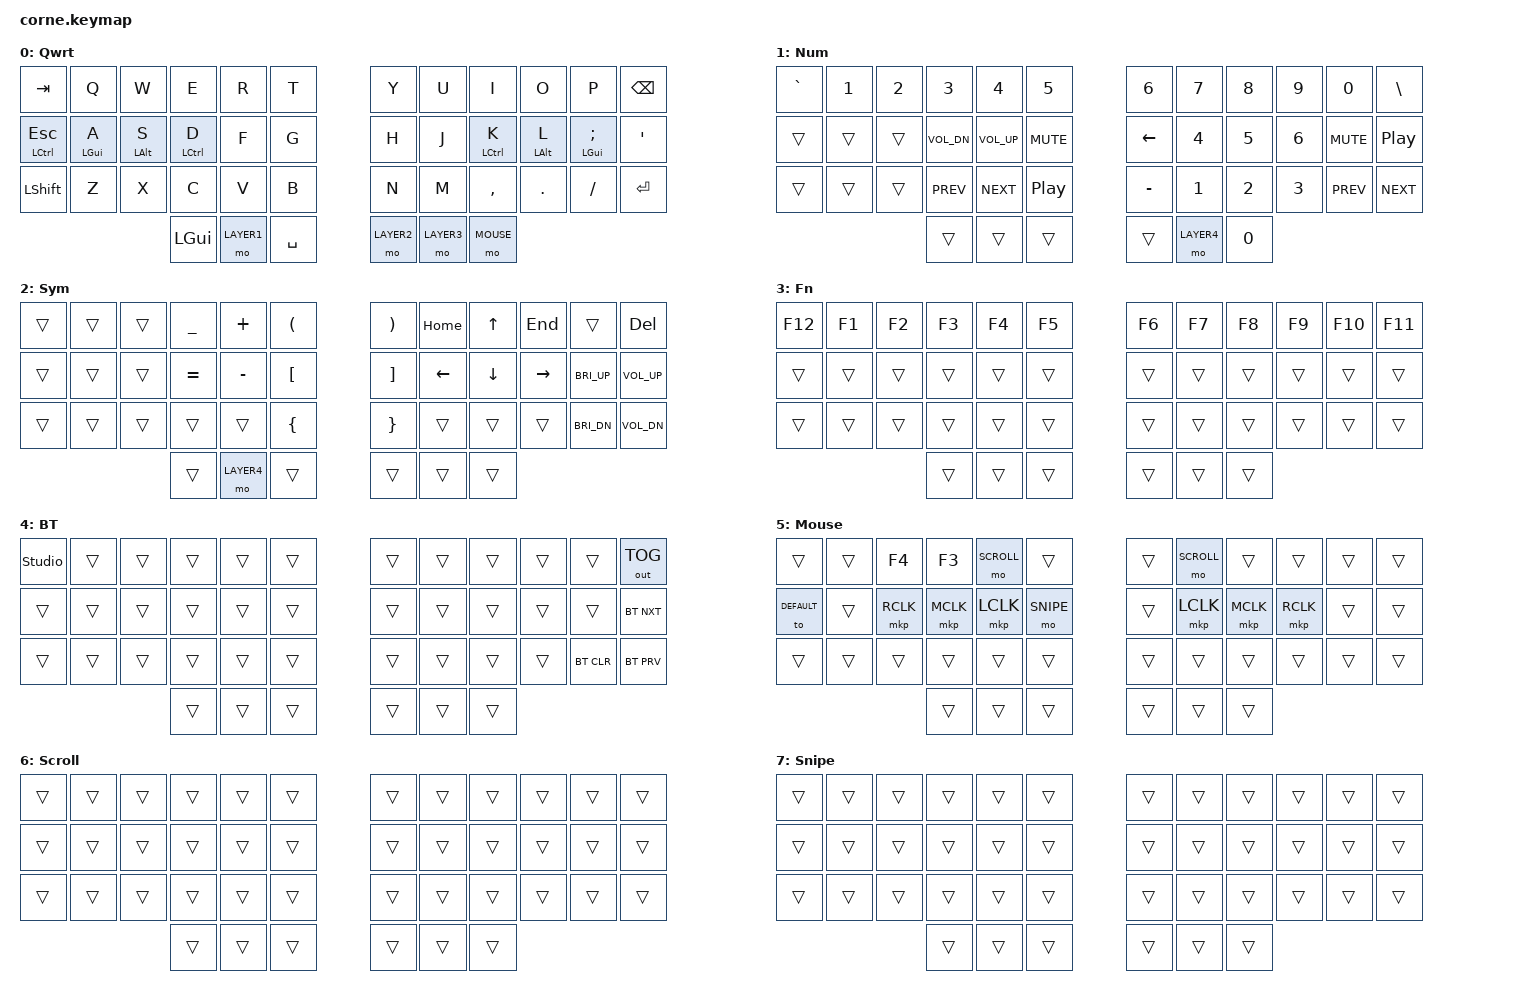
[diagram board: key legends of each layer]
#include <behaviors.dtsi>
#include <dt-bindings/zmk/bt.h>
#include <dt-bindings/zmk/keys.h>
#include <dt-bindings/zmk/outputs.h>
#include <dt-bindings/zmk/pointing.h>
#include <input/processors.dtsi>
#include <zephyr/dt-bindings/input/input-event-codes.h>


#define HM_TAPPING_TERM 300
#define HM_TAPPING_TERM_FAST 200
#define HM_PRIOR_IDLE 125

#define KEYS_L 0 1 2 3 4 5 12 13 14 15 16 17 24 25 26 27 28 29
#define KEYS_R 6 7 8 9 10 11 18 19 20 21 22 23 30 31 32 33 34 35
#define KEYS_T 36 37 38 39 40 41

#define DEFAULT 0
#define LAYER1  1
#define LAYER2  2
#define LAYER3  3
#define LAYER4  4
#define MOUSE   5
#define SCROLL  6
#define SNIPE   7

#define COMBO_TIMEOUT 20
#define COMBO_PRIOR_IDLE 75

&trackball_listener {
    input-processors = <&zip_ble_report_rate_limit>, <&zip_temp_layer MOUSE 1000>;

    scroller {
        layers = <SCROLL>;
        input-processors = <&zip_xy_scaler 1 16>, <&zip_xy_scaler 1 8>, <&zip_xy_to_scroll_mapper>;
    };

    sniper {
        layers = <SNIPE>;
        input-processors = <&zip_xy_scaler 1 4>;
    };
};

/ {
    behaviors {
        hm_l: homerow_mods_left {
            compatible = "zmk,behavior-hold-tap";
            #binding-cells = <2>;
            flavor = "balanced";
            require-prior-idle-ms = <HM_PRIOR_IDLE>;
            tapping-term-ms = <HM_TAPPING_TERM>;
            quick-tap-ms = <175>;
            bindings = <&kp>,  <&kp>;
            hold-trigger-key-positions = <KEYS_R KEYS_T>;
            hold-trigger-on-release;
        };

        hm_r: homerow_mods_right {
            compatible = "zmk,behavior-hold-tap";
            #binding-cells = <2>;
            flavor = "balanced";
            require-prior-idle-ms = <HM_PRIOR_IDLE>;
            tapping-term-ms = <HM_TAPPING_TERM>;
            quick-tap-ms = <175>;
            bindings = <&kp>, <&kp>;
            hold-trigger-key-positions = <KEYS_L KEYS_T>;
            hold-trigger-on-release;
        };
    };

    combos {
        compatible = "zmk,combos";
        combo_grave {
            timeout-ms = <COMBO_TIMEOUT>;
            require-prior-idle-ms = <COMBO_PRIOR_IDLE>;
            key-positions = <0 1>;
            bindings = <&kp GRAVE>;
        };

        combo_exclamation {
            timeout-ms = <COMBO_TIMEOUT>;
            require-prior-idle-ms = <COMBO_PRIOR_IDLE>;
            key-positions = <1 2>;
            bindings = <&kp EXCLAMATION>;
        };

        combo_atsign {
            timeout-ms = <COMBO_TIMEOUT>;
            require-prior-idle-ms = <COMBO_PRIOR_IDLE>;
            key-positions = <2 3>;
            bindings = <&kp AT_SIGN>;
        };

        combo_hash {
            timeout-ms = <COMBO_TIMEOUT>;
            require-prior-idle-ms = <COMBO_PRIOR_IDLE>;
            key-positions = <3 4>;
            bindings = <&kp HASH>;
        };

        combo_dollar {
            timeout-ms = <COMBO_TIMEOUT>;
            require-prior-idle-ms = <COMBO_PRIOR_IDLE>;
            key-positions = <4 5>;
            bindings = <&kp DOLLAR>;
        };

        combo_percent {
            timeout-ms = <COMBO_TIMEOUT>;
            require-prior-idle-ms = <COMBO_PRIOR_IDLE>;
            key-positions = <5 6>;
            bindings = <&kp PERCENT>;
        };

        combo_caret {
            timeout-ms = <COMBO_TIMEOUT>;
            require-prior-idle-ms = <COMBO_PRIOR_IDLE>;
            key-positions = <6 7>;
            bindings = <&kp CARET>;
        };

        combo_ampersand {
            timeout-ms = <COMBO_TIMEOUT>;
            require-prior-idle-ms = <COMBO_PRIOR_IDLE>;
            key-positions = <7 8>;
            bindings = <&kp AMPERSAND>;
        };

        combo_asterisk {
            timeout-ms = <COMBO_TIMEOUT>;
            require-prior-idle-ms = <COMBO_PRIOR_IDLE>;
            key-positions = <8 9>;
            bindings = <&kp ASTERISK>;
        };

        combo_lpar {
            timeout-ms = <COMBO_TIMEOUT>;
            require-prior-idle-ms = <COMBO_PRIOR_IDLE>;
            key-positions = <9 10>;
            bindings = <&kp LEFT_PARENTHESIS>;
        };

        combo_rpar {
            timeout-ms = <COMBO_TIMEOUT>;
            require-prior-idle-ms = <COMBO_PRIOR_IDLE>;
            key-positions = <10 11>;
            bindings = <&kp RIGHT_PARENTHESIS>;
        };

        combo_gui_option {
            timeout-ms = <COMBO_TIMEOUT>;
            require-prior-idle-ms = <COMBO_PRIOR_IDLE>;
            key-positions = <36 37>;
            bindings = <&kp LG(LALT)>;
        };

        combo_ctrl_z {
            timeout-ms = <COMBO_TIMEOUT>;
            require-prior-idle-ms = <COMBO_PRIOR_IDLE>;
            key-positions = <25 26>;
            bindings = <&kp LG(Z)>;
        };

        combo_ctrl_x {
            timeout-ms = <COMBO_TIMEOUT>;
            require-prior-idle-ms = <COMBO_PRIOR_IDLE>;
            key-positions = <26 27>;
            bindings = <&kp LG(X)>;
        };

        combo_ctrl_c {
            timeout-ms = <COMBO_TIMEOUT>;
            require-prior-idle-ms = <COMBO_PRIOR_IDLE>;
            key-positions = <27 28>;
            bindings = <&kp LG(C)>;
        };

        combo_ctrl_v {
            timeout-ms = <COMBO_TIMEOUT>;
            require-prior-idle-ms = <COMBO_PRIOR_IDLE>;
            key-positions = <28 29>;
            bindings = <&kp LG(V)>;
        };

        combo_f1 {
            timeout-ms = <COMBO_TIMEOUT>;
            require-prior-idle-ms = <COMBO_PRIOR_IDLE>;
            key-positions = <14 15>;
            bindings = <&kp F1>;
        };

        combo_f4 {
            timeout-ms = <COMBO_TIMEOUT>;
            require-prior-idle-ms = <COMBO_PRIOR_IDLE>;
            key-positions = <16 17>;
            bindings = <&kp F4>;
        };
    };

    keymap {
        compatible = "zmk,keymap";

        default_layer {
            display-name = "Qwrt";
            bindings = <
&kp TAB        &kp Q         &kp W         &kp E            &kp R      &kp T       &kp Y         &kp U      &kp I             &kp O         &kp P            &kp BSPC
&mt LCTRL ESC  &hm_l LGUI A  &hm_l LALT S  &hm_l LCTRL D    &kp F      &kp G       &kp H         &kp J      &hm_l LCTRL K     &hm_l LALT L  &hm_l LGUI SEMI  &kp SQT
&kp LSHFT      &kp Z         &kp X         &kp C            &kp V      &kp B       &kp N         &kp M      &kp COMMA         &kp DOT       &kp FSLH         &kp ENTER
                                           &kp LGUI         &mo LAYER1 &kp SPACE   &mo LAYER2    &mo LAYER3 &mo MOUSE
            >;
        };

        layer_1 {
            display-name = "Num";
            bindings = <
&kp GRAVE  &kp N1    &kp N2     &kp N3        &kp N4        &kp N5              &kp N6     &kp N7      &kp N8     &kp N9    &kp N0      &kp BSLH
&trans     &trans    &trans     &kp C_VOL_DN  &kp C_VOL_UP  &kp K_MUTE          &kp LEFT   &kp N4      &kp N5     &kp N6    &kp C_MUTE  &kp C_PLAY_PAUSE
&trans     &trans    &trans     &kp C_PREV    &kp C_NEXT    &kp C_PLAY_PAUSE    &kp MINUS  &kp N1      &kp N2     &kp N3    &kp C_PREV  &kp C_NEXT
                                &trans        &trans        &trans              &trans     &mo LAYER4  &kp N0
            >;
        };

        layer_2 {
            display-name = "Sym";
            bindings = <
&trans  &trans  &trans  &kp UNDER    &kp PLUS    &kp LPAR     &kp RPAR   &kp HOME   &kp UP     &kp END       &trans         &kp DEL
&trans  &trans  &trans  &kp EQUAL    &kp MINUS   &kp LBKT     &kp RBKT   &kp LEFT   &kp DOWN   &kp RIGHT     &kp C_BRI_UP   &kp C_VOL_UP
&trans  &trans  &trans  &trans       &trans      &kp LBRC     &kp RBRC   &trans     &trans     &trans        &kp C_BRI_DN   &kp C_VOL_DN
                        &trans       &mo LAYER4  &trans       &trans     &trans     &trans
            >;
        };

        layer_3 {
            display-name = "Fn";
            bindings = <
&kp F12    &kp F1   &kp F2  &kp F3   &kp F4   &kp F5    &kp F6     &kp F7   &kp F8   &kp F9    &kp F10   &kp F11
&trans     &trans   &trans  &trans   &trans   &trans    &trans     &trans   &trans   &trans    &trans    &trans
&trans     &trans   &trans  &trans   &trans   &trans    &trans     &trans   &trans   &trans    &trans    &trans
                            &trans   &trans   &trans    &trans     &trans   &trans
            >;
        };

        layer_4 {
            display-name = "BT";
            bindings = <
&studio_unlock &trans   &trans  &trans   &trans   &trans    &trans     &trans   &trans   &trans    &trans      &out OUT_TOG
&trans         &trans   &trans  &trans   &trans   &trans    &trans     &trans   &trans   &trans    &trans      &bt BT_NXT
&trans         &trans   &trans  &trans   &trans   &trans    &trans     &trans   &trans   &trans    &bt BT_CLR  &bt BT_PRV
                            &trans   &trans   &trans    &trans     &trans   &trans
            >;
        };

        mouse_layer {
// -----------------------------------------------------------------------------------------
// |      |     |  F4 |  F3 |SCRL |     |   |     |SCRL |     |     |     |      |
// |      |     | RCK | MCK | LCK |     |   |     | LCK | MCK | RCK |     |      |
// |      |     |     |     |     |     |   |     |     |     |     |     |      |
//                    |     |     |     |   |     |     |     |
                        display-name = "Mouse";
                        bindings = <
        &trans      &trans  &kp F4     &kp F3     &mo SCROLL &trans    &trans  &mo SCROLL &trans     &trans     &trans  &trans
        &to DEFAULT &trans  &mkp RCLK  &mkp MCLK  &mkp LCLK  &mo SNIPE &trans  &mkp LCLK  &mkp MCLK  &mkp RCLK  &trans  &trans
        &trans      &trans  &trans     &trans     &trans     &trans    &trans  &trans     &trans     &trans     &trans  &trans
                                   &trans     &trans     &trans    &trans  &trans     &trans
            >;
        };

        scroll_layer {
// -----------------------------------------------------------------------------------------
// |      |     |     |     |     |     |   |     |     |     |     |     |      |
// |      |     |     |     |     |     |   |     |     |     |     |     |      |
// |      |     |     |     |     |     |   |     |     |     |     |     |      |
//                    |     |     |     |   |     |     |     |
                        display-name = "Scroll";
                        bindings = <
        &trans  &trans  &trans     &trans     &trans     &trans    &trans  &trans     &trans     &trans     &trans  &trans
        &trans  &trans  &trans     &trans     &trans     &trans    &trans  &trans     &trans     &trans     &trans  &trans
        &trans  &trans  &trans     &trans     &trans     &trans    &trans  &trans     &trans     &trans     &trans  &trans
                                   &trans     &trans     &trans    &trans  &trans     &trans
            >;
        };

        snipe_layer {
// -----------------------------------------------------------------------------------------
// |      |     |     |     |     |     |   |     |     |     |     |     |      |
// |      |     |     |     |     |     |   |     |     |     |     |     |      |
// |      |     |     |     |     |     |   |     |     |     |     |     |      |
//                    |     |     |     |   |     |     |     |
                        display-name = "Snipe";
                        bindings = <
        &trans  &trans  &trans     &trans     &trans     &trans    &trans  &trans     &trans     &trans     &trans  &trans
        &trans  &trans  &trans     &trans     &trans     &trans    &trans  &trans     &trans     &trans     &trans  &trans
        &trans  &trans  &trans     &trans     &trans     &trans    &trans  &trans     &trans     &trans     &trans  &trans
                                   &trans     &trans     &trans    &trans  &trans     &trans
            >;
        };
    };
};
